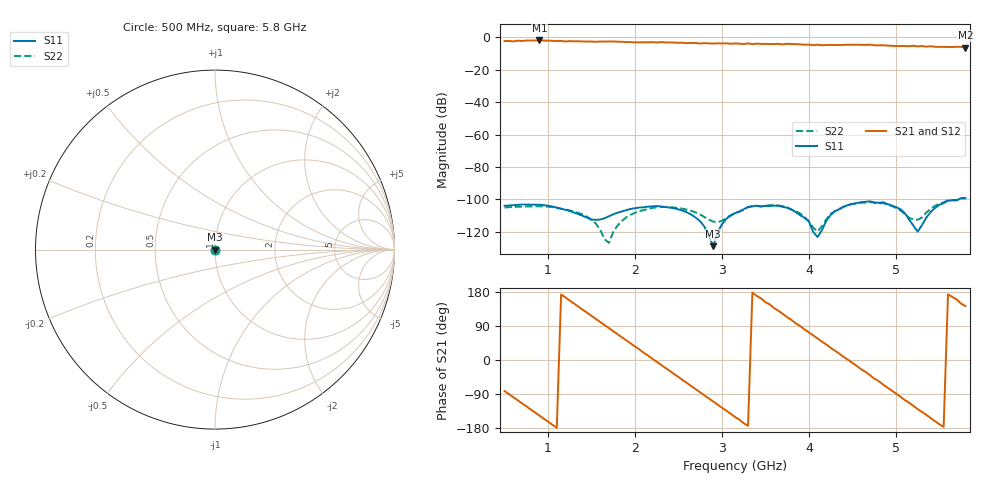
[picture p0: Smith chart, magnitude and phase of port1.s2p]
# GHZ S RI R 50
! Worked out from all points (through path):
!   107 points, 500 MHz to 5.8 GHz, reference 50 ohm
!   highest |S21| = -1.87 dB at 900 MHz (marker M1); lowest = -6.3 dB at 5.8 GHz (marker M2)
!   group delay of S21, straight-line fit = 448 ps
!   lowest |S11| = -129.0 dB at 2.9 GHz (marker M3), VSWR 1.00, Z = 50 - j9.72e-06 ohm
!   |S11| at or under -10 dB: start of sweep to end of sweep
!   |S22| runs from -126.9 to -99.3 dB; largest |S21 - S12| = 0.01
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0.5  5.3e-06 -3.4e-06  0.1074 -0.7663  0.1078 -0.7658  5.43e-06 -1.17e-06
0.65  3.26e-06 -5.89e-06  -0.2195 -0.7621  -0.2188 -0.762  5.07e-06 -2.94e-06
0.9  -1.71e-06 -6.57e-06  -0.673 -0.4435  -0.6735 -0.4441  2.78e-06 -5.41e-06
1.15  -3.98e-06 -3.21e-06  -0.7739 0.0982  -0.7739 0.0984  -5.34e-07 -5.06e-06
1.4  -2.86e-06 -1.1e-06  -0.5067 0.5539  -0.5071 0.5549  -2.31e-06 -2.46e-06
1.6  -1.69e-06 -1.65e-06  -0.1324 0.7368  -0.1343 0.7364  -9.67e-07 -5.8e-07
1.75  -2.18e-06 -2.66e-06  0.1827 0.7274  0.1835 0.7283  7.57e-07 -6.26e-07
2.05  -5.01e-06 -2.38e-06  0.6274 0.3316  0.6271 0.3305  1.4e-06 -4.06e-06
2.3  -5.94e-06 9.08e-07  0.7017 -0.1582  0.7019 -0.155  -2.12e-06 -5.39e-06
2.65  -1.69e-06 2.87e-06  0.2377 -0.6335  0.2417 -0.6324  -4.2e-06 -1.19e-06
2.9  -3.42e-07 -9.72e-08  -0.2181 -0.609  -0.2169 -0.6098  -1.92e-06 -6.75e-07
3.15  -3.06e-06 -2.12e-06  -0.5662 -0.3202  -0.5659 -0.3246  -2.24e-06 -3e-06
3.4  -6.31e-06 4.07e-07  -0.6316 0.119  -0.6349 0.1224  -5.7e-06 -2.62e-06
3.75  -2.42e-06 4.88e-06  -0.2498 0.5853  -0.2475 0.5885  -4.85e-06 2.78e-06
4.05  -2.57e-07 9.39e-07  0.244 0.5197  0.2449 0.519  -9.98e-07 8.56e-07
4.25  -3.25e-06 -5.05e-07  0.4984 0.3135  0.4992 0.3149  -3.03e-06 -1.76e-06
4.5  -6.55e-06 2.95e-06  0.5869 -0.0776  0.5894 -0.0807  -7.12e-06 -9.72e-08
4.75  -3.14e-06 7.39e-06  0.3766 -0.4337  0.3753 -0.4344  -6.11e-06 4.8e-06
4.95  1.6e-06 6.28e-06  0.0939 -0.5444  0.0945 -0.5447  -2.65e-06 5.62e-06
5.2  1.56e-06 6.36e-10  -0.2808 -0.4761  -0.2835 -0.4733  -1.6e-06 1.76e-06
5.4  -3.92e-06 -8.99e-07  -0.4767 -0.2416  -0.477 -0.244  -5.06e-06 6.57e-07
5.8  -4.61e-06 9.86e-06  -0.3855 0.2971  -0.3792 0.3019  -5.38e-06 9.33e-06
